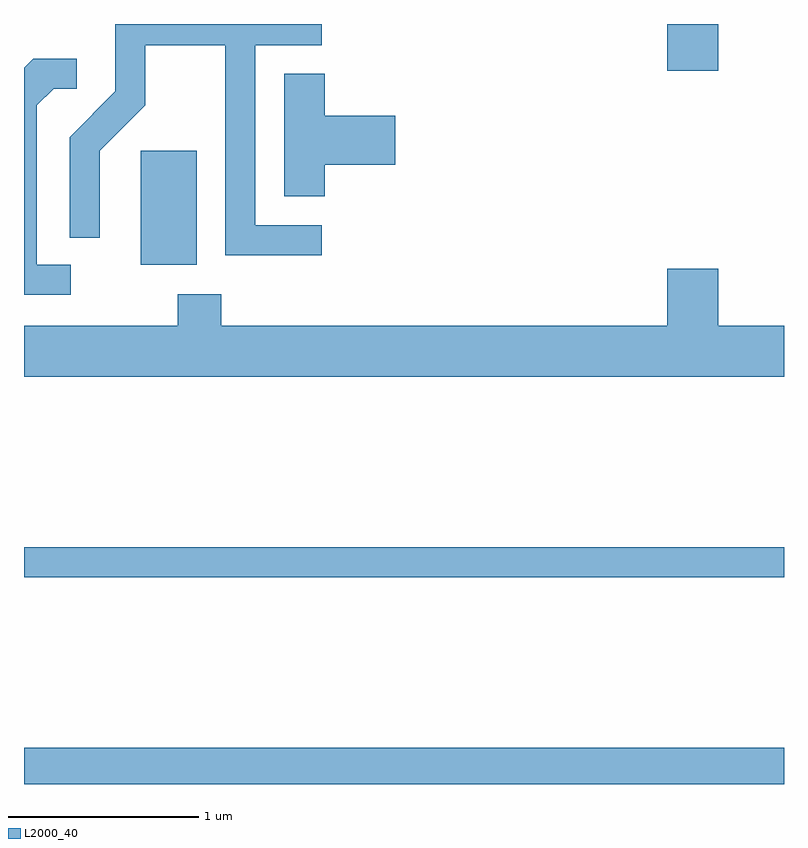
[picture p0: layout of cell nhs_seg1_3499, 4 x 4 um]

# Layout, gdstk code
import gdstk
lib = gdstk.Library(unit=1e-6, precision=1e-09)
def R(c, l, rs):  # rectangles x0, y0, x1, y1
    for r in rs: c.add(gdstk.rectangle(r[:2], r[2:], *l))
def P(c, l, *ps):  # polygons
    for p in ps: c.add(gdstk.Polygon(p, *l))
L2000_40 = (2000, 40)

nhs_seg1_3499 = lib.new_cell('nhs_seg1_3499')
R(nhs_seg1_3499, L2000_40, [(291.611,839.712,295.611,839.904), (291.611,840.801,295.611,840.959), (292.226,842.446,292.519,843.044), (294.996,843.466,295.264,843.712)])
P(nhs_seg1_3499, L2000_40, [(293.178,842.654),(292.829,842.654),(292.829,843.601),(293.178,843.601),(293.178,843.712),(292.091,843.712),(292.091,843.357),(291.851,843.117),(291.851,842.588),(292.009,842.588),(292.009,843.044),(292.249,843.284),(292.249,843.601),(292.671,843.601),(292.671,842.496),(293.178,842.496)],
  [(291.858,842.444),(291.679,842.444),(291.679,843.284),(291.767,843.371),(291.888,843.371),(291.888,843.529),(291.659,843.529),(291.611,843.481),(291.611,842.286),(291.858,842.286)],
  [(293.194,842.971),(293.564,842.971),(293.564,843.229),(293.194,843.229),(293.194,843.449),(292.981,843.449),(292.981,842.806),(293.194,842.806)],
  [(295.611,842.124),(295.264,842.124),(295.264,842.424),(294.996,842.424),(294.996,842.124),(292.649,842.124),(292.649,842.289),(292.421,842.289),(292.421,842.124),(291.611,842.124),(291.611,841.856),(295.611,841.856)])

lib.write_gds('nhs_seg1_3499.gds')
